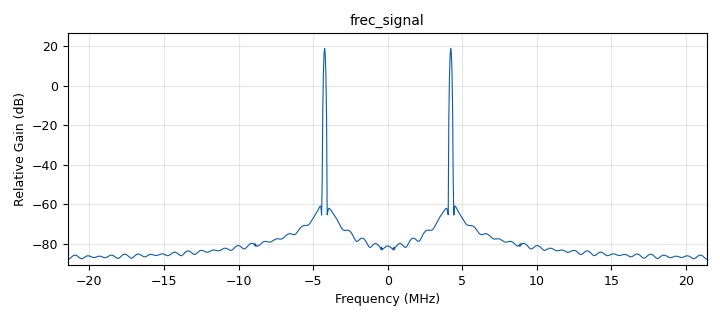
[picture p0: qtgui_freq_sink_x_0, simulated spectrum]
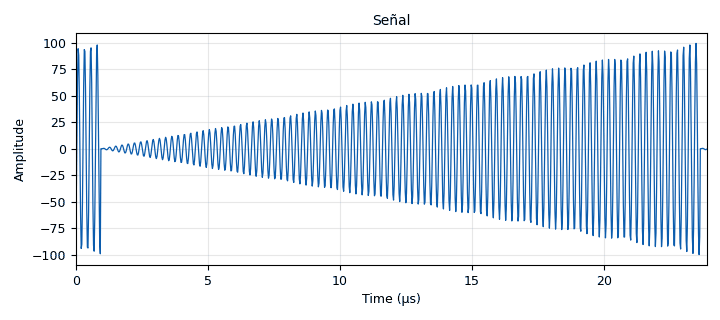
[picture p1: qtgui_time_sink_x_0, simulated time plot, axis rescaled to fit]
options:
  parameters:
    author: uis-e3t
    generate_options: qt_gui
    id: aaaa
    output_language: python
    title: Not titled yet
  states: {}

blocks:
- name: A0
  id: variable_qtgui_range
  parameters:
    label: Amplitud
    rangeType: int
    start: '1'
    step: '1'
    stop: '25'
    value: '10'
  states: {}
- name: samp_rate
  id: variable
  parameters:
    value: (54e3+4228e3)*10
  states: {}
- name: Lab3_comu1_part1_0
  id: Lab3_comu1_part1
  parameters:
    I_vect: '1024'
  states: {}
- name: analog_sig_source_x_0
  id: analog_sig_source_x
  parameters:
    amp: A0
    freq: 44e3
    offset: '0'
    phase: '0'
    samp_rate: samp_rate
    type: float
    waveform: analog.GR_SAW_WAVE
  states: {}
- name: analog_sig_source_x_0_0
  id: analog_sig_source_x
  parameters:
    amp: A0
    freq: 4228E3
    offset: '0'
    phase: '0'
    samp_rate: samp_rate
    type: float
    waveform: analog.GR_COS_WAVE
  states: {}
- name: blocks_multiply_xx_0
  id: blocks_multiply_xx
  parameters:
    type: float
  states: {}
- name: qtgui_freq_sink_x_0
  id: qtgui_freq_sink_x
  parameters:
    autoscale: 'True'
    bw: samp_rate
    fc: '0'
    fftsize: '1024'
    name: '"frec_signal"'
    type: float
  states: {}
- name: qtgui_time_sink_x_0
  id: qtgui_time_sink_x
  parameters:
    name: '"Señal"'
    size: '1024'
    srate: samp_rate
    type: float
    yunit: '"V"'
  states: {}

connections:
- [analog_sig_source_x_0, '0', blocks_multiply_xx_0, '0']
- [analog_sig_source_x_0_0, '0', blocks_multiply_xx_0, '1']
- [blocks_multiply_xx_0, '0', Lab3_comu1_part1_0, '0']
- [blocks_multiply_xx_0, '0', qtgui_freq_sink_x_0, '0']
- [blocks_multiply_xx_0, '0', qtgui_time_sink_x_0, '0']

metadata:
  file_format: 1
